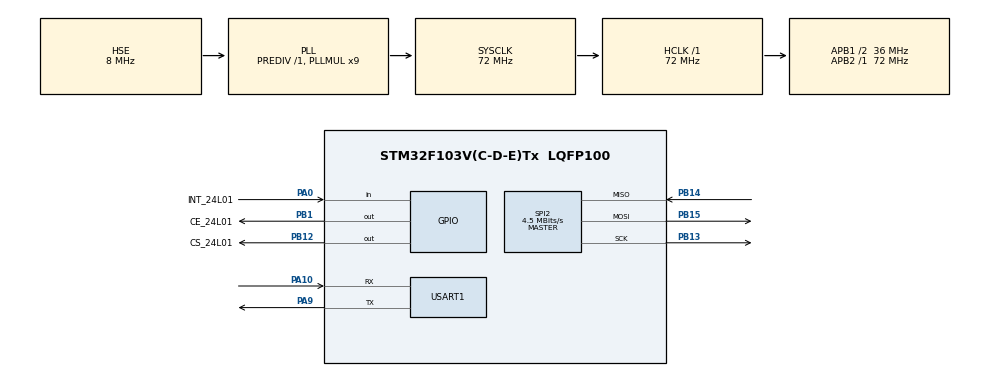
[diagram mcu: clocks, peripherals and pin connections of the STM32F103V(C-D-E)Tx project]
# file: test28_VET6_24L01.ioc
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Mcu.Family=STM32F1
Mcu.Name=STM32F103V(C-D-E)Tx
Mcu.Package=LQFP100
NVIC.PriorityGroup=NVIC_PRIORITYGROUP_4
NVIC.USART1_IRQn=true\:0\:0\:false\:false\:true\:true\:true
OSC_IN.Mode=HSE-External-Oscillator
OSC_IN.Signal=RCC_OSC_IN
OSC_OUT.Mode=HSE-External-Oscillator
OSC_OUT.Signal=RCC_OSC_OUT
PA0-WKUP.GPIO_Label=INT_24L01
PA0-WKUP.GPIO_PuPd=GPIO_PULLUP
PA0-WKUP.Signal=GPIO_Input
PA10.Mode=Asynchronous
PA10.Signal=USART1_RX
PA13.Mode=Serial_Wire
PA13.Signal=SYS_JTMS-SWDIO
PA14.Mode=Serial_Wire
PA14.Signal=SYS_JTCK-SWCLK
PA9.Mode=Asynchronous
PA9.Signal=USART1_TX
PB1.GPIO_Label=CE_24L01
PB1.GPIO_Speed=GPIO_SPEED_FREQ_HIGH
PB1.PinState=GPIO_PIN_SET
PB1.Signal=GPIO_Output
PB12.GPIO_Label=CS_24L01
PB12.GPIO_Speed=GPIO_SPEED_FREQ_HIGH
PB12.PinState=GPIO_PIN_SET
PB12.Signal=GPIO_Output
PB13.Mode=Full_Duplex_Master
PB13.Signal=SPI2_SCK
PB14.Mode=Full_Duplex_Master
PB14.Signal=SPI2_MISO
PB15.Mode=Full_Duplex_Master
PB15.Signal=SPI2_MOSI
PC14-OSC32_IN.Mode=LSE-External-Oscillator
PC14-OSC32_IN.Signal=RCC_OSC32_IN
PC15-OSC32_OUT.Mode=LSE-External-Oscillator
PC15-OSC32_OUT.Signal=RCC_OSC32_OUT
ProjectManager.HeapSize=0x800
ProjectManager.StackSize=0x2200
ProjectManager.TargetToolchain=MDK-ARM V5
RCC.AHBFreq_Value=72000000
RCC.APB1CLKDivider=RCC_HCLK_DIV2
RCC.APB1Freq_Value=36000000
RCC.APB1TimFreq_Value=72000000
RCC.APB2Freq_Value=72000000
RCC.APB2TimFreq_Value=72000000
RCC.HCLKFreq_Value=72000000
RCC.PLLMUL=RCC_PLL_MUL9
RCC.PLLSourceVirtual=RCC_PLLSOURCE_HSE
RCC.SYSCLKFreq_VALUE=72000000
RCC.SYSCLKSource=RCC_SYSCLKSOURCE_PLLCLK
RCC.USBFreq_Value=72000000
SPI2.BaudRatePrescaler=SPI_BAUDRATEPRESCALER_8
SPI2.CalculateBaudRate=4.5 MBits/s
SPI2.Direction=SPI_DIRECTION_2LINES
SPI2.Mode=SPI_MODE_MASTER
SPI2.VirtualType=VM_MASTER
USART1.VirtualMode=VM_ASYNC
board=custom

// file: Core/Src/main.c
/* USER CODE BEGIN Header */
/**
  ******************************************************************************
  * @file           : main.c
  * @brief          : Main program body
  ******************************************************************************
  * @attention
  *
  * <h2><center>&copy; Copyright (c) 2022 STMicroelectronics.
  * All rights reserved.</center></h2>
  *
  * This software component is licensed by ST under BSD 3-Clause license,
  * the "License"; You may not use this file except in compliance with the
  * License. You may obtain a copy of the License at:
  *                        opensource.org/licenses/BSD-3-Clause
  *
  ******************************************************************************
  */
/* USER CODE END Header */
#include "main.h"
#include "spi.h"
#include "usart.h"
#include "gpio.h"

void SystemClock_Config(void);

/* USER CODE BEGIN 0 */
#include "nRF24L01.h"
#include "stdio.h"

unsigned char tmp_buf[32] = {0};
unsigned char tmp_buf2[32] = {0};
unsigned char i;
extern const unsigned char INIT_ADDR0[5];
extern const unsigned char INIT_ADDR1[5];
/* USER CODE END 0 */

int main(void)
{

  /* MCU Configuration--------------------------------------------------------*/

  /* Reset of all peripherals, Initializes the Flash interface and the Systick. */
  HAL_Init();

  /* Configure the system clock */
  SystemClock_Config();

  /* Initialize all configured peripherals */
  MX_GPIO_Init();
  MX_USART1_UART_Init();
  MX_SPI2_Init();
  /* USER CODE BEGIN 2 */
	NRF24L01_Init();
	printf("\r\ninit OK!\r\n");
	NRF24L01_Check();

	//TX_Mode();
	TX_Mode_ack_data();

  /* USER CODE END 2 */
  /* Infinite loop */
  while (1)
  {

    /* USER CODE BEGIN 3 */

			HAL_Delay(1000);
			tmp_buf[31]++;

			//if(NRF24L01_TxPacket(tmp_buf) == 0x20)	//????????
			if(NRF24L01_TxPacket_ack_data(INIT_ADDR1, tmp_buf, 32) == 0x20)	//????????
			{
		    printf("send data OK!\r\n");
				tmp_buf[30]++;
			}
		  else
			{
				printf("send error!\r\n");
		  }

  }
  /* USER CODE END 3 */
}

void SystemClock_Config(void)
{
  RCC_OscInitTypeDef RCC_OscInitStruct = {0};
  RCC_ClkInitTypeDef RCC_ClkInitStruct = {0};

  /** Initializes the RCC Oscillators according to the specified parameters
  * in the RCC_OscInitTypeDef structure.
  */
  RCC_OscInitStruct.OscillatorType = RCC_OSCILLATORTYPE_HSE;
  RCC_OscInitStruct.HSEState = RCC_HSE_ON;
  RCC_OscInitStruct.HSEPredivValue = RCC_HSE_PREDIV_DIV1;
  RCC_OscInitStruct.HSIState = RCC_HSI_ON;
  RCC_OscInitStruct.PLL.PLLState = RCC_PLL_ON;
  RCC_OscInitStruct.PLL.PLLSource = RCC_PLLSOURCE_HSE;
  RCC_OscInitStruct.PLL.PLLMUL = RCC_PLL_MUL9;
  if (HAL_RCC_OscConfig(&RCC_OscInitStruct) != HAL_OK)
  {
    Error_Handler();
  }
  /** Initializes the CPU, AHB and APB buses clocks
  */
  RCC_ClkInitStruct.ClockType = RCC_CLOCKTYPE_HCLK|RCC_CLOCKTYPE_SYSCLK
                              |RCC_CLOCKTYPE_PCLK1|RCC_CLOCKTYPE_PCLK2;
  RCC_ClkInitStruct.SYSCLKSource = RCC_SYSCLKSOURCE_PLLCLK;
  RCC_ClkInitStruct.AHBCLKDivider = RCC_SYSCLK_DIV1;
  RCC_ClkInitStruct.APB1CLKDivider = RCC_HCLK_DIV2;
  RCC_ClkInitStruct.APB2CLKDivider = RCC_HCLK_DIV1;

  if (HAL_RCC_ClockConfig(&RCC_ClkInitStruct, FLASH_LATENCY_2) != HAL_OK)
  {
    Error_Handler();
  }
}

void Error_Handler(void)
{
  __disable_irq();
  while (1)
  {
  }
}

/************************ (C) COPYRIGHT STMicroelectronics *****END OF FILE****/
